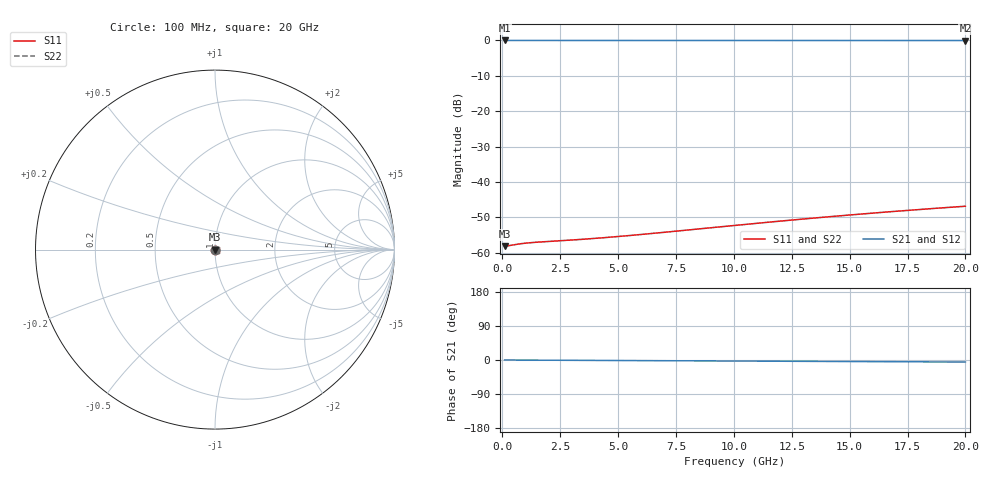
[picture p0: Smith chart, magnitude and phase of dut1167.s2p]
! Touchstone file exported from HFSS 2026.1.0
!  File:  C:/ffzhzh/LocalFiles/Ansys_Project_Files/temp_train_TSV_1167_1783191918_18472.aedt
!  Generated:  03:07:23 AM Jul  5, 2026
!  Design:  TSV
!  Project:  temp_train_TSV_1167_1783191918_18472
! Variables:
!  h_bsmrdl = 2um
!  h_ox = 20um
!  h_rdl = 5um
!  h_sub = 58.38um
!  h_tmrdl = 5um
!  h_tsv = 58.38um
!  h_via = 3um
!  l_bsmrdl = 300um
!  l_sub = 404.7um
!  l_tmrdl = 200um
!  m_sub = 200um
!  pitch = 9.23um
!  r_tsv = 2.35um
!  s_tmrdl = 10um
!  w_bsmrdl = 18um
!  w_sub = 500um
!  w_tmrdl = 12um
!  x_tsv_center1 = 206um
!  x_tsv_center2 = 524um
!  x_tsv_center3 = 736um
!  x_tsv_center4 = 1054um
!  x_tsv_center5 = 1266um
!  x_tsv_center6 = 1584um
# GHz S MA R 50.000000
! Terminal data exported
! Port[1] = TSV1_1_T1
! Port[2] = TSV1_1_T2
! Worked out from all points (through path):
!   200 points, 100 MHz to 20 GHz, reference 50 ohm
!   highest |S21| = -0.01 dB at 100 MHz (marker M1); lowest = 0.0 dB at 20 GHz (marker M2)
!   lowest |S11| = -58.1 dB at 100 MHz (marker M3), VSWR 1.00, Z = 50.1 + j0.00194 ohm
!   |S11| at or under -10 dB: start of sweep to end of sweep
!   |S22| runs from -58.1 to -46.8 dB; largest |S21 - S12| = 5e-15
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0.1  0.001241 0.9  0.9988 -0.0  0.9988 -0.0  0.001241 0.9
! Gamma 0 0 0 0
! Port Impedance 50 0 50 0
0.2  0.001251 1.7  0.9987 -0.1  0.9987 -0.1  0.001251 1.7
0.3  0.001265 2.2  0.9987 -0.1  0.9987 -0.1  0.001265 2.2
0.6  0.001315 2.7  0.9987 -0.2  0.9987 -0.2  0.001315 2.7
0.8  0.001345 2.3  0.9987 -0.2  0.9987 -0.2  0.001345 2.3
1  0.001369 1.7  0.9986 -0.3  0.9986 -0.3  0.001369 1.7
1.2  0.001389 1.0  0.9986 -0.3  0.9986 -0.3  0.001389 1.0
1.6  0.00142 -0.4  0.9986 -0.4  0.9986 -0.4  0.00142 -0.4
2.8  0.001501 -4.1  0.9985 -0.8  0.9985 -0.8  0.001501 -4.1
3.5  0.001555 -6.1  0.9985 -1.0  0.9985 -1.0  0.001555 -6.1
4.2  0.001617 -8.1  0.9984 -1.2  0.9984 -1.2  0.001617 -8.1
5  0.001698 -10.3  0.9983 -1.4  0.9983 -1.4  0.001698 -10.3
5.8  0.001791 -12.5  0.9982 -1.6  0.9982 -1.6  0.001791 -12.5
6.8  0.001921 -15.2  0.9981 -1.9  0.9981 -1.9  0.001921 -15.2
10.1  0.002448 -24.2  0.9977 -2.8  0.9977 -2.8  0.002448 -24.2
11.8  0.002766 -28.6  0.9975 -3.2  0.9975 -3.2  0.002765 -28.6
13.4  0.003086 -32.5  0.9973 -3.6  0.9973 -3.6  0.003085 -32.5
15  0.003422 -36.2  0.9971 -4.1  0.9971 -4.1  0.003422 -36.2
15.8  0.003596 -37.9  0.997 -4.3  0.997 -4.3  0.003595 -37.9
16.7  0.003794 -39.8  0.9969 -4.5  0.9969 -4.5  0.003794 -39.8
18.3  0.004156 -42.9  0.9967 -4.9  0.9967 -4.9  0.004155 -42.9
20  0.004549 -45.9  0.9965 -5.4  0.9965 -5.4  0.004549 -45.9
